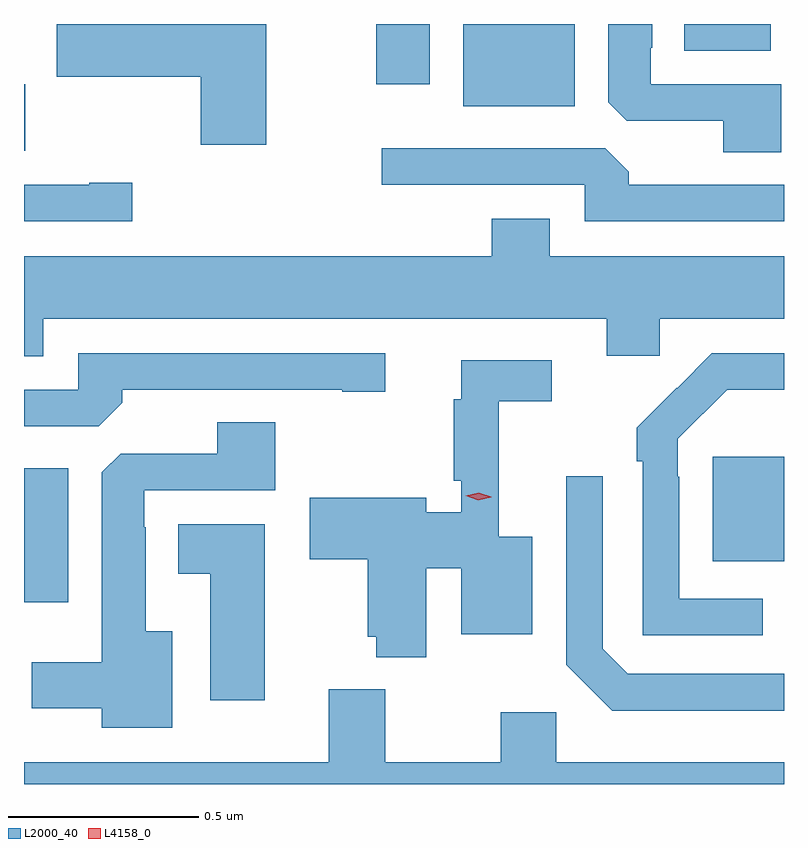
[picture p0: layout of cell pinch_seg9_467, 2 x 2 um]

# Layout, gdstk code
import gdstk
lib = gdstk.Library(unit=1e-6, precision=1e-09)
def R(c, l, rs):  # rectangles x0, y0, x1, y1
    for r in rs: c.add(gdstk.rectangle(r[:2], r[2:], *l))
def P(c, l, *ps):  # polygons
    for p in ps: c.add(gdstk.Polygon(p, *l))
L2000_40 = (2000, 40)
L4158_0 = (4158, 0)

pinch_seg9_467 = lib.new_cell('pinch_seg9_467')
R(pinch_seg9_467, L2000_40, [(213.934,1202.333,214.051,1202.686), (215.747,1202.441,215.934,1202.716), (213.934,1203.521,213.937,1203.697), (215.09,1203.638,215.383,1203.855), (214.861,1203.696,215.002,1203.855), (215.672,1203.785,215.899,1203.855)])
P(pinch_seg9_467, L2000_40, [(214.572,1203.855),(214.02,1203.855),(214.02,1203.716),(214.399,1203.716),(214.399,1203.537),(214.572,1203.537)],
  [(215.927,1203.696),(215.583,1203.696),(215.583,1203.793),(215.587,1203.793),(215.587,1203.855),(215.471,1203.855),(215.471,1203.649),(215.52,1203.6),(215.774,1203.6),(215.774,1203.517),(215.927,1203.517)],
  [(215.934,1203.432),(215.525,1203.432),(215.525,1203.466),(215.463,1203.528),(214.875,1203.528),(214.875,1203.432),(215.409,1203.432),(215.409,1203.336),(215.934,1203.336)],
  [(214.219,1203.437),(214.106,1203.437),(214.106,1203.432),(213.934,1203.432),(213.934,1203.336),(214.219,1203.336)],
  [(213.985,1203.08),(215.468,1203.08),(215.468,1202.982),(215.607,1202.982),(215.607,1203.08),(215.934,1203.08),(215.934,1203.244),(215.317,1203.244),(215.317,1203.343),(215.165,1203.343),(215.165,1203.244),(213.934,1203.244),(213.934,1202.981),(213.985,1202.981)],
  [(215.878,1202.343),(215.658,1202.343),(215.658,1202.663),(215.655,1202.663),(215.655,1202.763),(215.784,1202.892),(215.934,1202.892),(215.934,1202.988),(215.744,1202.988),(215.653,1202.897),(215.652,1202.898),(215.547,1202.793),(215.547,1202.705),(215.562,1202.705),(215.562,1202.247),(215.878,1202.247)],
  [(214.193,1202.858),(214.193,1202.892),(214.772,1202.892),(214.772,1202.887),(214.885,1202.887),(214.885,1202.988),(214.077,1202.988),(214.077,1202.892),(213.934,1202.892),(213.934,1202.796),(214.131,1202.796)],
  [(214.993,1202.423),(215.084,1202.423),(215.084,1202.249),(215.272,1202.249),(215.272,1202.506),(215.183,1202.506),(215.183,1202.862),(215.323,1202.862),(215.323,1202.97),(215.084,1202.97),(215.084,1202.867),(215.065,1202.867),(215.065,1202.653),(215.085,1202.653),(215.085,1202.57),(214.993,1202.57),(214.993,1202.608),(214.686,1202.608),(214.686,1202.446),(214.838,1202.446),(214.838,1202.243),(214.861,1202.243),(214.861,1202.189),(214.993,1202.189)],
  [(214.324,1202.257),(214.255,1202.257),(214.255,1202.531),(214.251,1202.531),(214.251,1202.628),(214.595,1202.628),(214.595,1202.807),(214.442,1202.807),(214.442,1202.724),(214.188,1202.724),(214.139,1202.675),(214.139,1202.176),(213.954,1202.176),(213.954,1202.054),(214.139,1202.054),(214.139,1202.003),(214.324,1202.003)],
  [(215.934,1202.145),(215.523,1202.145),(215.457,1202.211),(215.457,1202.665),(215.361,1202.665),(215.361,1202.169),(215.482,1202.048),(215.934,1202.048)],
  [(214.567,1202.539),(214.34,1202.539),(214.34,1202.408),(214.424,1202.408),(214.424,1202.076),(214.567,1202.076)],
  [(215.934,1201.912),(215.334,1201.912),(215.334,1202.044),(215.188,1202.044),(215.188,1201.912),(214.884,1201.912),(214.884,1202.104),(214.736,1202.104),(214.736,1201.912),(213.934,1201.912),(213.934,1201.855),(215.934,1201.855)])
P(pinch_seg9_467, L4158_0, [(215.129,1202.602),(215.097,1202.614),(215.097,1202.614),(215.097,1202.614),(215.131,1202.622),(215.163,1202.611),(215.163,1202.61),(215.163,1202.61)])

lib.write_gds('pinch_seg9_467.gds')
